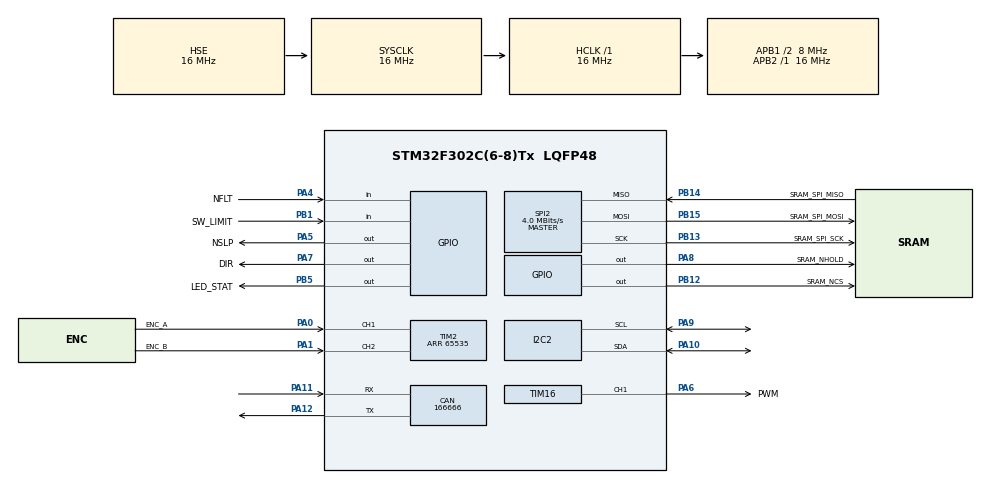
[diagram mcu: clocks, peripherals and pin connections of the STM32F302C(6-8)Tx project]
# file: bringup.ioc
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CAN.CalculateBaudRate=166666
CAN.CalculateTimeBit=6000
CAN.CalculateTimeQuantum=2000.0
I2C2.OwnAddress=3
Mcu.Family=STM32F3
Mcu.Name=STM32F302C(6-8)Tx
Mcu.Package=LQFP48
NVIC.PriorityGroup=NVIC_PRIORITYGROUP_4
PA0.GPIO_Label=ENC_A
PA0.Signal=S_TIM2_CH1_ETR
PA1.GPIO_Label=ENC_B
PA1.Signal=S_TIM2_CH2
PA10.Mode=I2C
PA10.Signal=I2C2_SDA
PA11.Mode=CAN_Activate
PA11.Signal=CAN_RX
PA12.Mode=CAN_Activate
PA12.Signal=CAN_TX
PA13.Mode=Trace_Asynchronous_SW
PA13.Signal=SYS_JTMS-SWDIO
PA14.Mode=Trace_Asynchronous_SW
PA14.Signal=SYS_JTCK-SWCLK
PA4.GPIO_Label=NFLT
PA4.Signal=GPIO_Input
PA5.GPIO_Label=NSLP
PA5.Signal=GPIO_Output
PA6.GPIO_Label=PWM
PA6.Signal=S_TIM16_CH1
PA7.GPIO_Label=DIR
PA7.Signal=GPIO_Output
PA8.GPIO_Label=SRAM_NHOLD
PA8.Signal=GPIO_Output
PA9.Mode=I2C
PA9.Signal=I2C2_SCL
PB1.GPIO_Label=SW_LIMIT
PB1.Signal=GPIO_Input
PB12.GPIO_Label=SRAM_NCS
PB12.Signal=GPIO_Output
PB13.GPIO_Label=SRAM_SPI_SCK
PB13.Mode=Full_Duplex_Master
PB13.Signal=SPI2_SCK
PB14.GPIO_Label=SRAM_SPI_MISO
PB14.Mode=Full_Duplex_Master
PB14.Signal=SPI2_MISO
PB15.GPIO_Label=SRAM_SPI_MOSI
PB15.Mode=Full_Duplex_Master
PB15.Signal=SPI2_MOSI
PB3.Mode=Trace_Asynchronous_SW
PB3.Signal=SYS_JTDO-TRACESWO
PB5.GPIO_Label=LED_STAT
PB5.Signal=GPIO_Output
PF0-OSC_IN.Mode=HSE-External-Oscillator
PF0-OSC_IN.Signal=RCC_OSC_IN
PF1-OSC_OUT.Mode=HSE-External-Oscillator
PF1-OSC_OUT.Signal=RCC_OSC_OUT
ProjectManager.HeapSize=0x200
ProjectManager.StackSize=0x400
ProjectManager.TargetToolchain=STM32CubeIDE
RCC.AHBFreq_Value=16000000
RCC.APB1CLKDivider=RCC_HCLK_DIV2
RCC.APB1Freq_Value=8000000
RCC.APB1TimFreq_Value=16000000
RCC.APB2Freq_Value=16000000
RCC.APB2TimFreq_Value=16000000
RCC.CortexFreq_Value=16000000
RCC.HCLKFreq_Value=16000000
RCC.HSE_VALUE=16000000
RCC.HSI_VALUE=8000000
RCC.LSE_VALUE=32768
RCC.PLLMUL=RCC_PLL_MUL6
RCC.PLLSourceVirtual=RCC_PLLSOURCE_HSE
RCC.SYSCLKFreq_VALUE=16000000
RCC.SYSCLKSourceVirtual=RCC_SYSCLKSOURCE_HSE
RCC.USBFreq_Value=96000000
SH.S_TIM16_CH1.0=TIM16_CH1,PWM Generation1 CH1
SH.S_TIM2_CH1_ETR.0=TIM2_CH1,Encoder_Interface
SH.S_TIM2_CH2.0=TIM2_CH2,Encoder_Interface
SPI2.CalculateBaudRate=4.0 MBits/s
SPI2.Direction=SPI_DIRECTION_2LINES
SPI2.Mode=SPI_MODE_MASTER
SPI2.VirtualNSS=VM_NSSHARD
SPI2.VirtualType=VM_MASTER
TIM16.Channel=TIM_CHANNEL_1
TIM2.AutoReloadPreload=TIM_AUTORELOAD_PRELOAD_ENABLE
TIM2.EncoderMode=TIM_ENCODERMODE_TI12
TIM2.IC1Filter=10
TIM2.IC2Filter=10
TIM2.Period=65535
VP_TIM16_VS_ClockSourceINT.Mode=Enable_Timer
board=custom

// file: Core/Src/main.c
/* USER CODE BEGIN Header */
/**
  ******************************************************************************
  * @file           : main.c
  * @brief          : Main program body
  ******************************************************************************
  * @attention
  *
  * Copyright (c) 2022 STMicroelectronics.
  * All rights reserved.
  *
  * This software is licensed under terms that can be found in the LICENSE file
  * in the root directory of this software component.
  * If no LICENSE file comes with this software, it is provided AS-IS.
  *
  ******************************************************************************
  */
/* USER CODE END Header */
#include "main.h"

/* USER CODE BEGIN Includes */
#include "stdbool.h"
/* USER CODE END Includes */

CAN_HandleTypeDef hcan;

I2C_HandleTypeDef hi2c2;

SPI_HandleTypeDef hspi2;

TIM_HandleTypeDef htim2;
TIM_HandleTypeDef htim16;

void SystemClock_Config(void);
static void MX_GPIO_Init(void);
static void MX_CAN_Init(void);
static void MX_I2C2_Init(void);
static void MX_TIM2_Init(void);
static void MX_TIM16_Init(void);
static void MX_SPI2_Init(void);

int main(void)
{

  /* MCU Configuration--------------------------------------------------------*/

  /* Reset of all peripherals, Initializes the Flash interface and the Systick. */
  HAL_Init();

  /* Configure the system clock */
  SystemClock_Config();

  /* Initialize all configured peripherals */
  MX_GPIO_Init();
  MX_CAN_Init();
  MX_I2C2_Init();
  MX_TIM2_Init();
  MX_TIM16_Init();
  MX_SPI2_Init();
  /* USER CODE BEGIN 2 */
  HAL_TIM_Encoder_Start(&htim2, TIM_CHANNEL_ALL);

  /* USER CODE END 2 */

  /* Infinite loop */
  /* USER CODE BEGIN WHILE */
//  GPIO_PinState limit_state, prev_limit_state;

  // HSE test
  uint32_t hse_is_stable = false;

  // ENCODER TEST

  // I2C TRANSMIT
//  uint32_t encoder_position = 0;
//  uint8_t i2c_buffer[4];

  // MOTOR TESTS
  HAL_GPIO_WritePin(DIR_GPIO_Port, DIR_Pin, GPIO_PIN_SET);
  HAL_GPIO_WritePin(PWM_GPIO_Port, PWM_Pin, GPIO_PIN_SET);
  HAL_GPIO_WritePin(NSLP_GPIO_Port, NSLP_Pin, GPIO_PIN_SET);

  while (1)
  {
    /* USER CODE END WHILE */

    /* USER CODE BEGIN 3 */
	// HSE Stability check
	hse_is_stable = (READ_BIT(RCC->CR, RCC_CR_HSERDY) != 0);
	if (hse_is_stable != 0)
	{
		HAL_GPIO_WritePin(LED_STAT_GPIO_Port, LED_STAT_Pin, GPIO_PIN_RESET);
	}
	{
		HAL_GPIO_WritePin(LED_STAT_GPIO_Port, LED_STAT_Pin, GPIO_PIN_RESET);
		HAL_Delay(200);
		HAL_GPIO_WritePin(LED_STAT_GPIO_Port, LED_STAT_Pin, GPIO_PIN_SET);
		HAL_Delay(200);
	}

	// LED TEST
//	HAL_GPIO_WritePin(LED_STAT_GPIO_Port, LED_STAT_Pin, GPIO_PIN_RESET);
//	HAL_Delay(1000);
//	HAL_GPIO_WritePin(LED_STAT_GPIO_Port, LED_STAT_Pin, GPIO_PIN_SET);
//	HAL_Delay(1000);

	// LIMIT SWITCH TEST
//	prev_limit_state = limit_state;
//	limit_state = HAL_GPIO_ReadPin(SW_LIMIT_GPIO_Port, SW_LIMIT_Pin);
//	HAL_GPIO_WritePin(LED_STAT_GPIO_Port, LED_STAT_Pin, limit_state);
//	HAL_Delay(100);

//	// ENCODER TEST
//	encoder_position = TIM2->CNT;

	// I2C TRANSMIT
//	i2c_buffer[3] = (encoder_position >> 24) & 0xFF;
//	i2c_buffer[2] = (encoder_position >> 16) & 0xFF;
//	i2c_buffer[1] = (encoder_position >> 8) & 0xFF;
//	i2c_buffer[0] = encoder_position & 0xFF;
//	HAL_I2C_Slave_Transmit(&hi2c2, i2c_buffer, 4, HAL_MAX_DELAY);
//	HAL_Delay(100);

	// BASIC MOTOR TEST
//	prev_limit_state = limit_state;
//	limit_state = HAL_GPIO_ReadPin(SW_LIMIT_GPIO_Port, SW_LIMIT_Pin);
//	if (limit_state == GPIO_PIN_SET)
//	{
//		HAL_GPIO_WritePin(PWM_GPIO_Port, PWM_Pin, GPIO_PIN_SET);
//		HAL_GPIO_WritePin(LED_STAT_GPIO_Port, LED_STAT_Pin, GPIO_PIN_SET);
//	}
//	else
//	{
//		HAL_GPIO_WritePin(PWM_GPIO_Port, PWM_Pin, GPIO_PIN_RESET);
//		HAL_GPIO_WritePin(LED_STAT_GPIO_Port, LED_STAT_Pin, GPIO_PIN_RESET);
//	}
  }
  /* USER CODE END 3 */
}

void SystemClock_Config(void)
{
  RCC_OscInitTypeDef RCC_OscInitStruct = {0};
  RCC_ClkInitTypeDef RCC_ClkInitStruct = {0};
  RCC_PeriphCLKInitTypeDef PeriphClkInit = {0};

  /** Initializes the RCC Oscillators according to the specified parameters
  * in the RCC_OscInitTypeDef structure.
  */
  RCC_OscInitStruct.OscillatorType = RCC_OSCILLATORTYPE_HSI|RCC_OSCILLATORTYPE_HSE;
  RCC_OscInitStruct.HSEState = RCC_HSE_ON;
  RCC_OscInitStruct.HSIState = RCC_HSI_ON;
  RCC_OscInitStruct.HSICalibrationValue = RCC_HSICALIBRATION_DEFAULT;
  RCC_OscInitStruct.PLL.PLLState = RCC_PLL_NONE;
  if (HAL_RCC_OscConfig(&RCC_OscInitStruct) != HAL_OK)
  {
    Error_Handler();
  }

  /** Initializes the CPU, AHB and APB buses clocks
  */
  RCC_ClkInitStruct.ClockType = RCC_CLOCKTYPE_HCLK|RCC_CLOCKTYPE_SYSCLK
                              |RCC_CLOCKTYPE_PCLK1|RCC_CLOCKTYPE_PCLK2;
  RCC_ClkInitStruct.SYSCLKSource = RCC_SYSCLKSOURCE_HSE;
  RCC_ClkInitStruct.AHBCLKDivider = RCC_SYSCLK_DIV1;
  RCC_ClkInitStruct.APB1CLKDivider = RCC_HCLK_DIV2;
  RCC_ClkInitStruct.APB2CLKDivider = RCC_HCLK_DIV1;

  if (HAL_RCC_ClockConfig(&RCC_ClkInitStruct, FLASH_LATENCY_0) != HAL_OK)
  {
    Error_Handler();
  }
  PeriphClkInit.PeriphClockSelection = RCC_PERIPHCLK_I2C2|RCC_PERIPHCLK_TIM16;
  PeriphClkInit.I2c2ClockSelection = RCC_I2C2CLKSOURCE_HSI;
  PeriphClkInit.Tim16ClockSelection = RCC_TIM16CLK_HCLK;
  if (HAL_RCCEx_PeriphCLKConfig(&PeriphClkInit) != HAL_OK)
  {
    Error_Handler();
  }
}

static void MX_CAN_Init(void)
{

  hcan.Instance = CAN;
  hcan.Init.Prescaler = 16;
  hcan.Init.Mode = CAN_MODE_NORMAL;
  hcan.Init.SyncJumpWidth = CAN_SJW_1TQ;
  hcan.Init.TimeSeg1 = CAN_BS1_1TQ;
  hcan.Init.TimeSeg2 = CAN_BS2_1TQ;
  hcan.Init.TimeTriggeredMode = DISABLE;
  hcan.Init.AutoBusOff = DISABLE;
  hcan.Init.AutoWakeUp = DISABLE;
  hcan.Init.AutoRetransmission = DISABLE;
  hcan.Init.ReceiveFifoLocked = DISABLE;
  hcan.Init.TransmitFifoPriority = DISABLE;
  if (HAL_CAN_Init(&hcan) != HAL_OK)
  {
    Error_Handler();
  }

}

static void MX_I2C2_Init(void)
{

  hi2c2.Instance = I2C2;
  hi2c2.Init.Timing = 0x2000090E;
  hi2c2.Init.OwnAddress1 = 6;
  hi2c2.Init.AddressingMode = I2C_ADDRESSINGMODE_7BIT;
  hi2c2.Init.DualAddressMode = I2C_DUALADDRESS_DISABLE;
  hi2c2.Init.OwnAddress2 = 0;
  hi2c2.Init.OwnAddress2Masks = I2C_OA2_NOMASK;
  hi2c2.Init.GeneralCallMode = I2C_GENERALCALL_DISABLE;
  hi2c2.Init.NoStretchMode = I2C_NOSTRETCH_DISABLE;
  if (HAL_I2C_Init(&hi2c2) != HAL_OK)
  {
    Error_Handler();
  }

  /** Configure Analogue filter
  */
  if (HAL_I2CEx_ConfigAnalogFilter(&hi2c2, I2C_ANALOGFILTER_ENABLE) != HAL_OK)
  {
    Error_Handler();
  }

  /** Configure Digital filter
  */
  if (HAL_I2CEx_ConfigDigitalFilter(&hi2c2, 0) != HAL_OK)
  {
    Error_Handler();
  }

}

static void MX_SPI2_Init(void)
{

  /* SPI2 parameter configuration*/
  hspi2.Instance = SPI2;
  hspi2.Init.Mode = SPI_MODE_MASTER;
  hspi2.Init.Direction = SPI_DIRECTION_2LINES;
  hspi2.Init.DataSize = SPI_DATASIZE_4BIT;
  hspi2.Init.CLKPolarity = SPI_POLARITY_LOW;
  hspi2.Init.CLKPhase = SPI_PHASE_1EDGE;
  hspi2.Init.NSS = SPI_NSS_SOFT;
  hspi2.Init.BaudRatePrescaler = SPI_BAUDRATEPRESCALER_2;
  hspi2.Init.FirstBit = SPI_FIRSTBIT_MSB;
  hspi2.Init.TIMode = SPI_TIMODE_DISABLE;
  hspi2.Init.CRCCalculation = SPI_CRCCALCULATION_DISABLE;
  hspi2.Init.CRCPolynomial = 7;
  hspi2.Init.CRCLength = SPI_CRC_LENGTH_DATASIZE;
  hspi2.Init.NSSPMode = SPI_NSS_PULSE_ENABLE;
  if (HAL_SPI_Init(&hspi2) != HAL_OK)
  {
    Error_Handler();
  }

}

static void MX_TIM2_Init(void)
{

  TIM_Encoder_InitTypeDef sConfig = {0};
  TIM_MasterConfigTypeDef sMasterConfig = {0};

  htim2.Instance = TIM2;
  htim2.Init.Prescaler = 0;
  htim2.Init.CounterMode = TIM_COUNTERMODE_UP;
  htim2.Init.Period = 65535;
  htim2.Init.ClockDivision = TIM_CLOCKDIVISION_DIV1;
  htim2.Init.AutoReloadPreload = TIM_AUTORELOAD_PRELOAD_ENABLE;
  sConfig.EncoderMode = TIM_ENCODERMODE_TI12;
  sConfig.IC1Polarity = TIM_ICPOLARITY_RISING;
  sConfig.IC1Selection = TIM_ICSELECTION_DIRECTTI;
  sConfig.IC1Prescaler = TIM_ICPSC_DIV1;
  sConfig.IC1Filter = 10;
  sConfig.IC2Polarity = TIM_ICPOLARITY_RISING;
  sConfig.IC2Selection = TIM_ICSELECTION_DIRECTTI;
  sConfig.IC2Prescaler = TIM_ICPSC_DIV1;
  sConfig.IC2Filter = 10;
  if (HAL_TIM_Encoder_Init(&htim2, &sConfig) != HAL_OK)
  {
    Error_Handler();
  }
  sMasterConfig.MasterOutputTrigger = TIM_TRGO_RESET;
  sMasterConfig.MasterSlaveMode = TIM_MASTERSLAVEMODE_DISABLE;
  if (HAL_TIMEx_MasterConfigSynchronization(&htim2, &sMasterConfig) != HAL_OK)
  {
    Error_Handler();
  }

}

static void MX_TIM16_Init(void)
{

  TIM_OC_InitTypeDef sConfigOC = {0};
  TIM_BreakDeadTimeConfigTypeDef sBreakDeadTimeConfig = {0};

  htim16.Instance = TIM16;
  htim16.Init.Prescaler = 0;
  htim16.Init.CounterMode = TIM_COUNTERMODE_UP;
  htim16.Init.Period = 65535;
  htim16.Init.ClockDivision = TIM_CLOCKDIVISION_DIV1;
  htim16.Init.RepetitionCounter = 0;
  htim16.Init.AutoReloadPreload = TIM_AUTORELOAD_PRELOAD_DISABLE;
  if (HAL_TIM_Base_Init(&htim16) != HAL_OK)
  {
    Error_Handler();
  }
  if (HAL_TIM_PWM_Init(&htim16) != HAL_OK)
  {
    Error_Handler();
  }
  sConfigOC.OCMode = TIM_OCMODE_PWM1;
  sConfigOC.Pulse = 0;
  sConfigOC.OCPolarity = TIM_OCPOLARITY_HIGH;
  sConfigOC.OCNPolarity = TIM_OCNPOLARITY_HIGH;
  sConfigOC.OCFastMode = TIM_OCFAST_DISABLE;
  sConfigOC.OCIdleState = TIM_OCIDLESTATE_RESET;
  sConfigOC.OCNIdleState = TIM_OCNIDLESTATE_RESET;
  if (HAL_TIM_PWM_ConfigChannel(&htim16, &sConfigOC, TIM_CHANNEL_1) != HAL_OK)
  {
    Error_Handler();
  }
  sBreakDeadTimeConfig.OffStateRunMode = TIM_OSSR_DISABLE;
  sBreakDeadTimeConfig.OffStateIDLEMode = TIM_OSSI_DISABLE;
  sBreakDeadTimeConfig.LockLevel = TIM_LOCKLEVEL_OFF;
  sBreakDeadTimeConfig.DeadTime = 0;
  sBreakDeadTimeConfig.BreakState = TIM_BREAK_DISABLE;
  sBreakDeadTimeConfig.BreakPolarity = TIM_BREAKPOLARITY_HIGH;
  sBreakDeadTimeConfig.BreakFilter = 0;
  sBreakDeadTimeConfig.AutomaticOutput = TIM_AUTOMATICOUTPUT_DISABLE;
  if (HAL_TIMEx_ConfigBreakDeadTime(&htim16, &sBreakDeadTimeConfig) != HAL_OK)
  {
    Error_Handler();
  }
  HAL_TIM_MspPostInit(&htim16);

}

static void MX_GPIO_Init(void)
{
  GPIO_InitTypeDef GPIO_InitStruct = {0};

  /* GPIO Ports Clock Enable */
  __HAL_RCC_GPIOF_CLK_ENABLE();
  __HAL_RCC_GPIOA_CLK_ENABLE();
  __HAL_RCC_GPIOB_CLK_ENABLE();

  /*Configure GPIO pin Output Level */
  HAL_GPIO_WritePin(GPIOA, NSLP_Pin|DIR_Pin|SRAM_NHOLD_Pin, GPIO_PIN_RESET);

  /*Configure GPIO pin Output Level */
  HAL_GPIO_WritePin(GPIOB, SRAM_NCS_Pin|LED_STAT_Pin, GPIO_PIN_RESET);

  /*Configure GPIO pin : NFLT_Pin */
  GPIO_InitStruct.Pin = NFLT_Pin;
  GPIO_InitStruct.Mode = GPIO_MODE_INPUT;
  GPIO_InitStruct.Pull = GPIO_NOPULL;
  HAL_GPIO_Init(NFLT_GPIO_Port, &GPIO_InitStruct);

  /*Configure GPIO pins : NSLP_Pin DIR_Pin SRAM_NHOLD_Pin */
  GPIO_InitStruct.Pin = NSLP_Pin|DIR_Pin|SRAM_NHOLD_Pin;
  GPIO_InitStruct.Mode = GPIO_MODE_OUTPUT_PP;
  GPIO_InitStruct.Pull = GPIO_NOPULL;
  GPIO_InitStruct.Speed = GPIO_SPEED_FREQ_LOW;
  HAL_GPIO_Init(GPIOA, &GPIO_InitStruct);

  /*Configure GPIO pin : SW_LIMIT_Pin */
  GPIO_InitStruct.Pin = SW_LIMIT_Pin;
  GPIO_InitStruct.Mode = GPIO_MODE_INPUT;
  GPIO_InitStruct.Pull = GPIO_NOPULL;
  HAL_GPIO_Init(SW_LIMIT_GPIO_Port, &GPIO_InitStruct);

  /*Configure GPIO pins : SRAM_NCS_Pin LED_STAT_Pin */
  GPIO_InitStruct.Pin = SRAM_NCS_Pin|LED_STAT_Pin;
  GPIO_InitStruct.Mode = GPIO_MODE_OUTPUT_PP;
  GPIO_InitStruct.Pull = GPIO_NOPULL;
  GPIO_InitStruct.Speed = GPIO_SPEED_FREQ_LOW;
  HAL_GPIO_Init(GPIOB, &GPIO_InitStruct);

}

/* USER CODE BEGIN 4 */
int _write(int file, char *ptr, int len)
{
  /* Implement your write code here, this is used by puts and printf for example */
  int i=0;
  for(i=0 ; i<len ; i++)
    ITM_SendChar((*ptr++));
  return len;
}

/* USER CODE END 4 */

void Error_Handler(void)
{
  __disable_irq();
  while (1)
  {
  }
}
